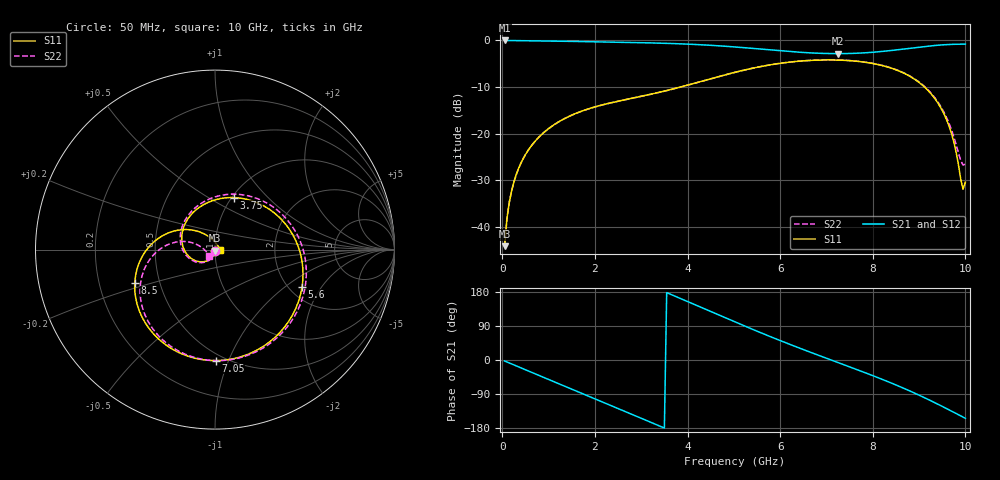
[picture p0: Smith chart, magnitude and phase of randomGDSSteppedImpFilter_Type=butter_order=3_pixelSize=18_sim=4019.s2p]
! freq	dB(S11)	phase(S11)	dB(S12)	phase(S12)
!  dB(S21)	phase(S21)	dB(S22)	phase(S22)
!S-par simulation data
#  GHz  S  DB  R 50
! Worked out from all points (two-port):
!   200 points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, 50 MHz to 10 GHz, reference 50 ohm
!   highest |S21| = 0.00 dB at 50 MHz (marker M1); lowest = -2.8 dB at 7.25 GHz (marker M2)
!   |S21| within 3 dB of the highest: start of sweep to end of sweep
!   lowest |S11| = -44.1 dB at 50 MHz (marker M3), VSWR 1.01, Z = 50 - j0.624 ohm
!   |S11| at or under -10 dB: start of sweep to 3.841 GHz; 9.119 GHz to end of sweep
!   |S22| runs from -44.1 to -4.2 dB; largest |S21 - S12| = 0
!   S11 on the Smith chart (normalised r, x): 50 MHz: 1.00, -0.01; 3.75 GHz: 1.02, +0.65; 5.6 GHz: 2.34, -1.34; 7.05 GHz: 0.45, -0.90; 8.5 GHz: 0.36, -0.18; 10 GHz: 1.06, -0.01
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0.05  -44.09 -91.0  -0.00 -2.6  -0.00 -2.6  -44.09 -90.9
0.1  -38.20 -94.0  -0.01 -5.2  -0.01 -5.2  -38.20 -93.7
0.2  -32.28 -100.2  -0.02 -10.4  -0.02 -10.4  -32.28 -99.5
0.5  -24.46 -117.0  -0.05 -25.8  -0.05 -25.8  -24.46 -115.2
1.15  -17.86 -151.9  -0.14 -59.0  -0.14 -59.0  -17.86 -147.8
1.75  -15.03 176.2  -0.25 -89.6  -0.25 -89.6  -15.04 -177.4
2.5  -13.02 136.2  -0.38 -127.8  -0.38 -127.8  -13.04 145.4
3.4  -11.09 88.7  -0.58 -174.4  -0.58 -174.4  -11.11 100.1
3.75  -10.24 70.4  -0.69 167.3  -0.69 167.3  -10.26 81.9
4.45  -8.35 34.3  -1.01 130.4  -1.01 130.4  -8.37 44.8
5.05  -6.77 3.9  -1.42 99.1  -1.42 99.1  -6.78 13.1
5.6  -5.56 -23.1  -1.87 71.0  -1.87 71.0  -5.56 -15.2
6.7  -4.25 -74.2  -2.69 18.3  -2.69 18.3  -4.25 -67.7
7.05  -4.17 -89.7  -2.81 2.3  -2.81 2.3  -4.16 -83.4
7.25  -4.20 -98.6  -2.83 -6.8  -2.83 -6.8  -4.19 -92.3
8.35  -5.78 -149.6  -2.21 -58.2  -2.21 -58.2  -5.74 -141.6
8.5  -6.29 -157.2  -2.04 -65.8  -2.04 -65.8  -6.24 -148.7
9  -9.00 175.1  -1.44 -92.7  -1.44 -92.7  -8.91 -172.8
9.45  -14.12 145.4  -0.99 -119.3  -0.99 -119.3  -13.86 167.3
9.7  -19.95 122.7  -0.84 -134.9  -0.84 -134.9  -19.16 163.9
9.95  -31.87 35.3  -0.80 -150.7  -0.80 -150.7  -26.72 -151.9
10  -30.37 -4.5  -0.80 -153.9  -0.80 -153.9  -26.45 -132.8
